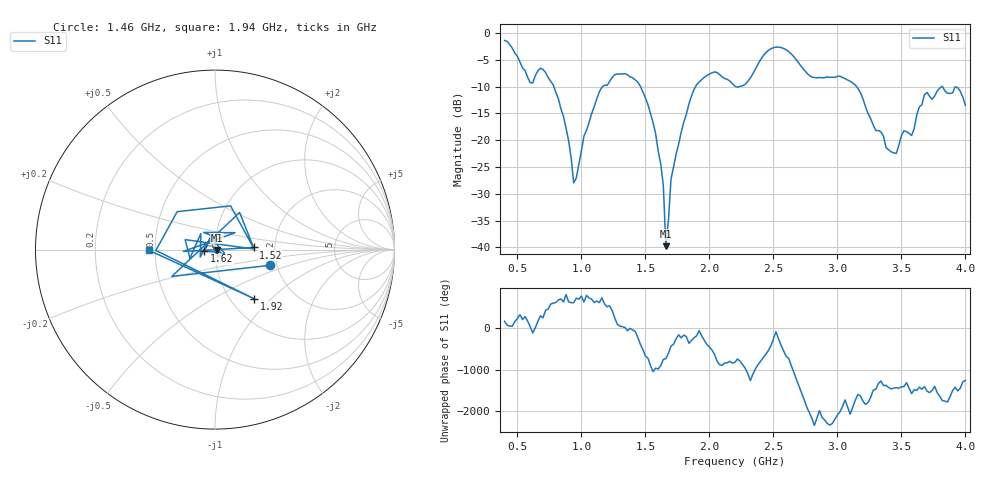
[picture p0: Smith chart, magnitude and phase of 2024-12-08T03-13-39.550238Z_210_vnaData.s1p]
!Created with skrf (http://scikit-rf.org).
# Hz S RI R 50.0
!freq ReS11 ImS11
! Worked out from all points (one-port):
!   181 points, 400 MHz to 4 GHz, reference 50 ohm
!   lowest |S11| = -39.8 dB at 1.66 GHz (marker M1), VSWR 1.02, Z = 51 - j0.144 ohm
!   |S11| at or under -10 dB: 784.8 MHz to 1.165 GHz (380.6 MHz wide, 39 % of centre); 1.462 GHz to 1.892 GHz (429.6 MHz wide, 25.6 % of centre); 3.15 GHz to 3.815 GHz (665.3 MHz wide, 19.1 % of centre) (the widest 3 of 5)
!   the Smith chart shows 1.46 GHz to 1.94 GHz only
!   S11 on the Smith chart (normalised r, x): 1.46 GHz: 1.85, -0.36; 1.52 GHz: 1.55, +0.04; 1.62 GHz: 0.89, -0.01; 1.92 GHz: 1.28, -0.80; 1.94 GHz: 0.46, -0.00
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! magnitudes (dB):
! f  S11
! 400 MHz  -1.4
! 600 MHz  -9.2
! 720 MHz  -7.3
! 860 MHz  -15.6
! 940 MHz  -28.0
! 1.14 GHz  -11.0
! 1.3 GHz  -7.6
! 1.46 GHz  -9.9
! 1.52 GHz  -13.3
! 1.62 GHz  -24.5
! 1.64 GHz  -28.5
! 1.66 GHz  -39.8
! 1.7 GHz  -27.3
! 1.76 GHz  -20.7
! 1.92 GHz  -9.1
! 1.94 GHz  -8.7
! 2.2 GHz  -9.9
! 2.48 GHz  -2.9
! 2.66 GHz  -4.4
! 2.8 GHz  -8.2
! 3.1 GHz  -9.0
! 3.38 GHz  -21.4
! 3.46 GHz  -22.5
! 3.52 GHz  -18.2
! 3.56 GHz  -18.7
! 3.7 GHz  -11.1
! 3.94 GHz  -10.2
! 4 GHz  -13.5
